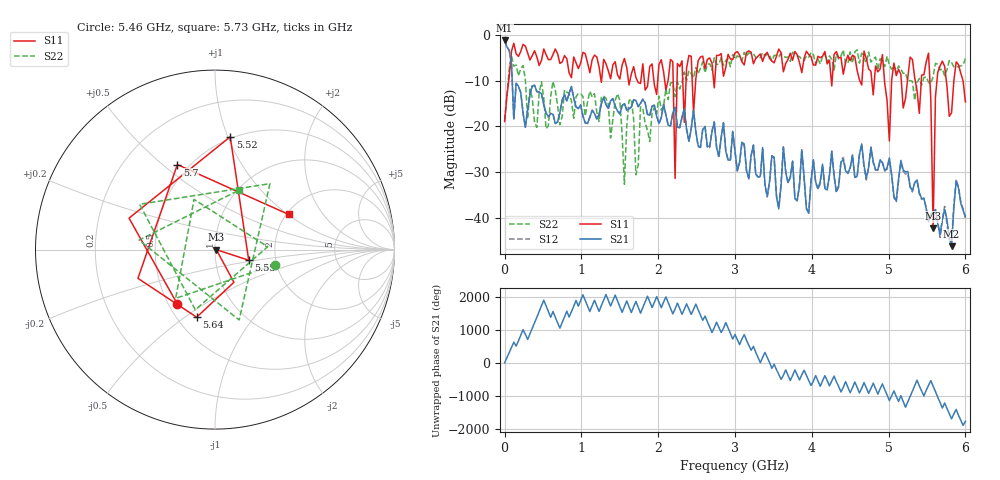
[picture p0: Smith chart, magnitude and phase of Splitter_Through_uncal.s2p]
#  HZ  S  DB  R  50.0
! Rohde & Schwarz ZVL13 2Ports - Version 3.20 - 1303.6509k13 SN: 100953
! Date: 2024-10-09 08:06:38
! Data & Calibration Information:
! Trc1:S11(Cal Off) Trc4:S21(Cal Off) Trc2:S12(Cal Off) Trc3:S22(Cal Off)
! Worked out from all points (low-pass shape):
!   201 points, 9 kHz to 6 GHz, reference 50 ohm
!   highest |S21| = -1.17 dB at 9 kHz (marker M1); lowest = -46.3 dB at 5.82 GHz (marker M2)
!   |S21| within 3 dB of the highest: start of sweep to 68.58 MHz
!   lowest |S11| = -42.4 dB at 5.58 GHz (marker M3), VSWR 1.02, Z = 50.8 - j0.0553 ohm
!   |S11| at or under -10 dB: 4.947 GHz to 5.04 GHz (92.54 MHz wide, 1.85 % of centre); 5.538 GHz to 5.63 GHz (91.94 MHz wide, 1.65 % of centre); 5.752 GHz to 5.85 GHz (98.24 MHz wide, 1.69 % of centre) (the widest 3 of 20)
!   |S22| runs from -32.7 to -3.2 dB; largest |S21 - S12| = 0.0061
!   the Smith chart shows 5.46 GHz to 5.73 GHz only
!   S11 on the Smith chart (normalised r, x): 5.46 GHz: 0.56, -0.39; 5.52 GHz: 0.48, +1.02; 5.55 GHz: 1.45, -0.18; 5.64 GHz: 0.62, -0.56; 5.7 GHz: 0.43, +0.56; 5.73 GHz: 2.05, +1.01
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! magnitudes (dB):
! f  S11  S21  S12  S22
! 9 kHz  -18.9  -1.2  -1.2  -18.7
! 1.02 GHz  -3.8  -17.8  -17.8  -13.4
! 1.47 GHz  -8.7  -16.6  -16.6  -12.9
! 1.56 GHz  -5.1  -15.0  -14.9  -32.7
! 1.62 GHz  -10.9  -16.1  -16.1  -14.4
! 2.01 GHz  -6.4  -19.4  -19.4  -13.4
! 2.19 GHz  -5.8  -17.1  -17.0  -10.4
! 2.22 GHz  -31.4  -15.8  -15.9  -13.5
! 2.25 GHz  -6.2  -20.2  -20.1  -10.2
! 3 GHz  -3.9  -25.4  -25.5  -5.3
! 4.02 GHz  -6.6  -27.4  -27.3  -4.2
! 4.92 GHz  -4.3  -28.0  -27.9  -5.9
! 5.01 GHz  -23.2  -26.9  -27.3  -6.5
! 5.46 GHz  -8.7  -35.8  -35.7  -9.3
! 5.52 GHz  -4.0  -41.0  -40.8  -10.4
! 5.55 GHz  -14.1  -39.2  -39.6  -10.6
! 5.58 GHz  -42.4  -38.8  -39.2  -9.1
! 5.64 GHz  -8.2  -41.4  -40.8  -6.4
! 5.7 GHz  -5.7  -40.4  -40.5  -7.4
! 5.73 GHz  -6.9  -38.2  -37.5  -8.9
! 5.82 GHz  -17.0  -46.3  -45.2  -6.0
! 6 GHz  -14.7  -39.7  -40.1  -5.1
